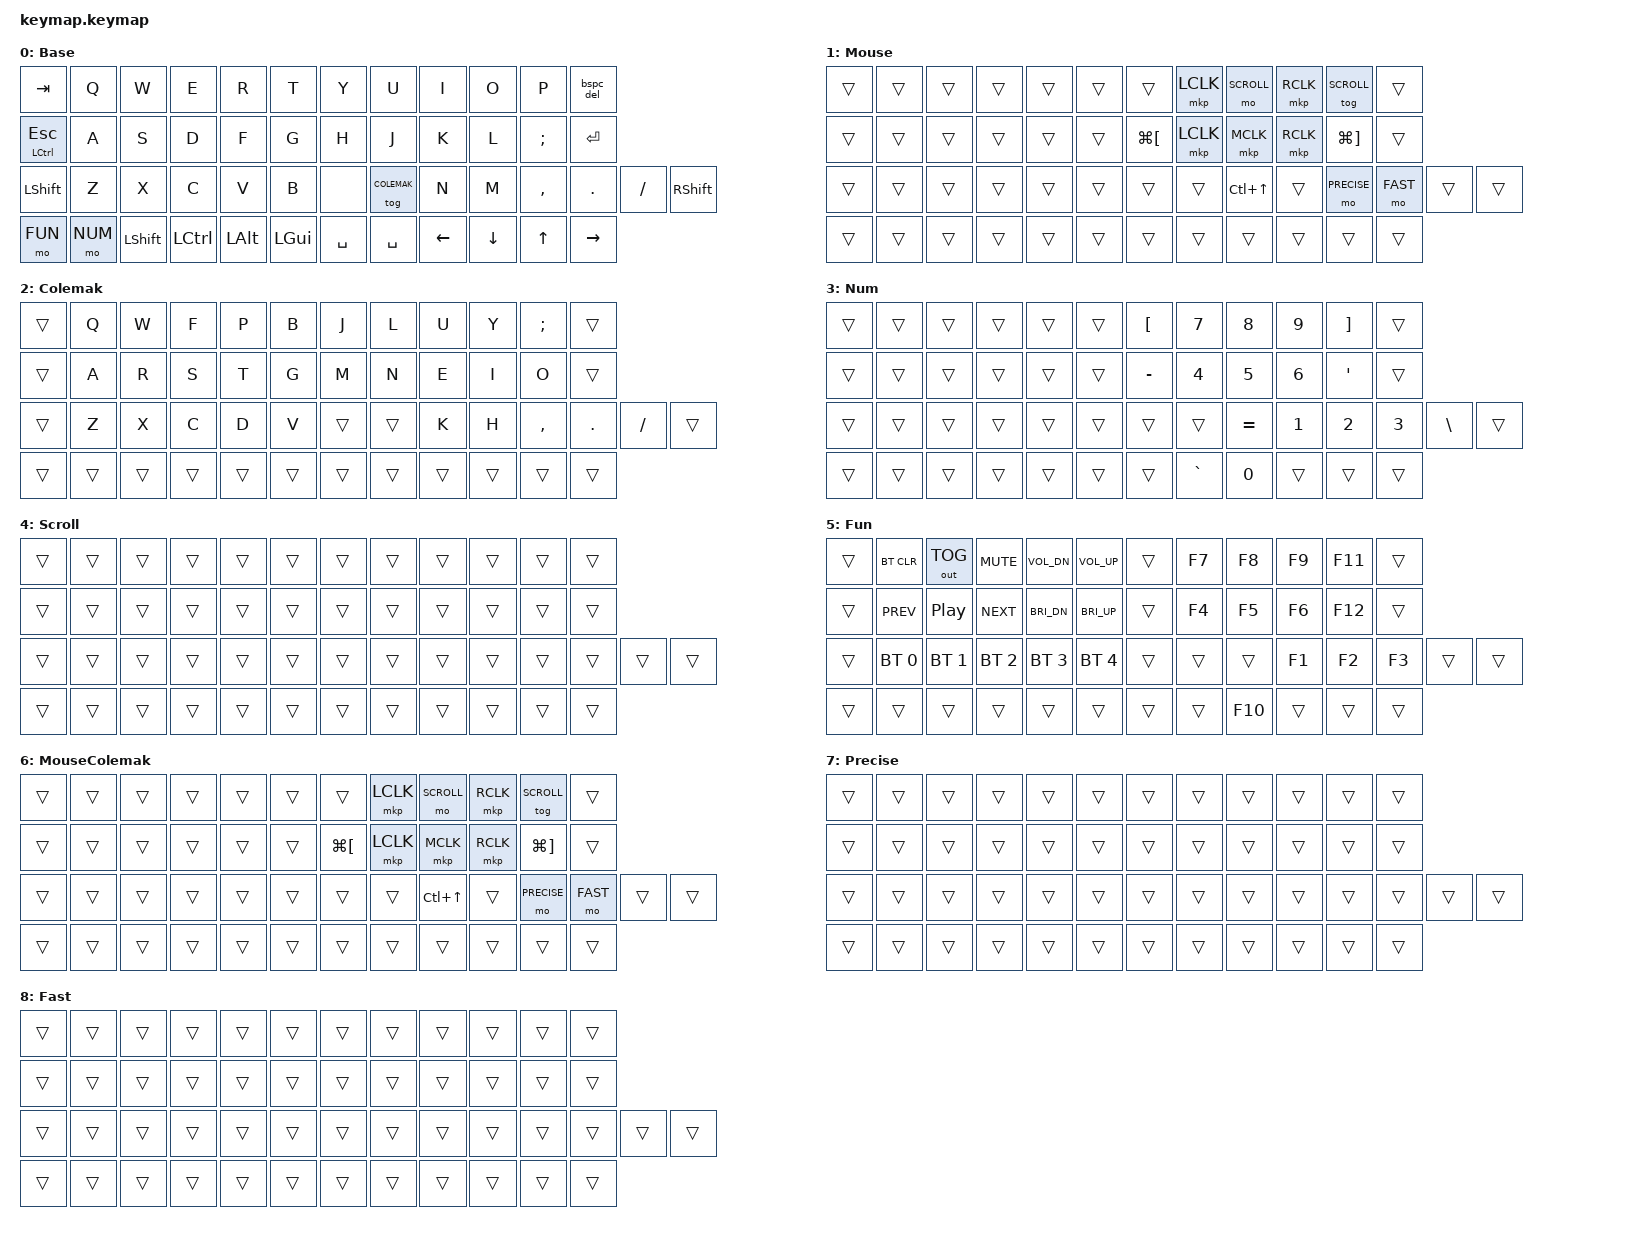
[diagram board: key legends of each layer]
#include <behaviors.dtsi>
#include <dt-bindings/zmk/bt.h>
#include <dt-bindings/zmk/keys.h>
#include <dt-bindings/zmk/outputs.h>
#include <dt-bindings/zmk/pointing.h>

// Layer indices. MOUSE (1), SCROLL (4), PRECISE (7) and FAST (8) are referenced by
// boards/shields/zen/zen_right.overlay, so they must keep these numbers.
// COLEMAK sits above MOUSE, so MOUSE_C (a copy of MOUSE) is switched on by
// conditional_layers whenever both are active; otherwise Colemak letters
// would cover the click keys.
#define BASE    0
#define MOUSE   1
#define COLEMAK 2
#define NUM     3
#define SCROLL  4
#define FUN     5
#define MOUSE_C 6
#define PRECISE 7
#define FAST    8

/ {
    behaviors {
        // Tap: Esc / Hold: Ctrl.
        // "balanced": Ctrl only when another key is pressed and released
        // while this key is held, so a quick Esc never turns into Ctrl.
        esc_ctrl: esc_ctrl {
            compatible = "zmk,behavior-hold-tap";
            #binding-cells = <2>;
            flavor = "balanced";
            tapping-term-ms = <200>;
            quick-tap-ms = <150>;
            bindings = <&kp>, <&kp>;
        };

        // Bksp / Shift+Bksp = Del (Shift is not sent along with Del).
        bspc_del: bspc_del {
            compatible = "zmk,behavior-mod-morph";
            #binding-cells = <0>;
            bindings = <&kp BSPC>, <&kp DEL>;
            mods = <(MOD_LSFT|MOD_RSFT)>;
        };
    };

    combos {
        compatible = "zmk,combos";

        // Both Shifts together = Caps Word (caps for one word, then off).
        caps_word {
            timeout-ms = <50>;
            key-positions = <24 37>;
            bindings = <&caps_word>;
            layers = <BASE>;
        };
    };

    keymap {
        compatible = "zmk,keymap";

        Base {
            bindings = <
&kp TAB                &kp Q    &kp W    &kp E      &kp R     &kp T     &kp Y      &kp U      &kp I         &kp O       &kp P          &bspc_del
&esc_ctrl LCTRL ESC    &kp A    &kp S    &kp D      &kp F     &kp G     &kp H      &kp J      &kp K         &kp L       &kp SEMICOLON  &kp ENTER
&kp LSHFT              &kp Z    &kp X    &kp C      &kp V     &kp B     &none      &tog COLEMAK  &kp N         &kp M       &kp COMMA      &kp DOT    &kp SLASH  &kp RSHFT
&mo FUN                &mo NUM  &kp LSHFT &kp LCTRL &kp LALT  &kp LGUI  &kp SPACE  &kp SPACE  &kp LEFT      &kp DOWN    &kp UP         &kp RIGHT
            >;
        };

        // Turned on automatically while the trackball moves.
        // I: hold to scroll. P: scroll on/off toggle.
        // , (comma): hold for slow, precise cursor. . (dot): hold for fast cursor.
        Mouse {
            bindings = <
&trans  &trans  &trans  &trans  &trans  &trans  &trans  &mkp LCLK  &mo SCROLL  &mkp RCLK  &tog SCROLL  &trans
&trans  &trans  &trans  &trans  &trans  &trans  &kp LG(LBKT)  &mkp LCLK  &mkp MCLK  &mkp RCLK  &kp LG(RBKT)  &trans
&trans  &trans  &trans  &trans  &trans  &trans  &trans  &trans  &kp LC(UP)  &trans  &mo PRECISE  &mo FAST  &trans  &trans
&trans  &trans  &trans  &trans  &trans  &trans  &trans  &trans  &trans  &trans  &trans  &trans
            >;
        };

        // Colemak-DH letters, toggled with key 31. Everything else passes through.
        Colemak {
            bindings = <
&trans  &kp Q  &kp W  &kp F  &kp P  &kp B  &kp J  &kp L  &kp U  &kp Y  &kp SEMICOLON  &trans
&trans  &kp A  &kp R  &kp S  &kp T  &kp G  &kp M  &kp N  &kp E  &kp I  &kp O          &trans
&trans  &kp Z  &kp X  &kp C  &kp D  &kp V  &trans &trans &kp K  &kp H  &kp COMMA  &kp DOT  &kp SLASH  &trans
&trans  &trans &trans &trans &trans &trans &trans &trans &trans &trans &trans  &trans
            >;
        };

        // Right-hand numpad. Shift (base, transparent) gives the shifted symbols.
        Num {
            bindings = <
&trans  &trans  &trans  &trans  &trans  &trans  &kp LBKT  &kp N7  &kp N8  &kp N9  &kp RBKT   &trans
&trans  &trans  &trans  &trans  &trans  &trans  &kp MINUS &kp N4  &kp N5  &kp N6  &kp SQT  &trans
&trans  &trans  &trans  &trans  &trans  &trans  &trans    &trans  &kp EQUAL &kp N1  &kp N2  &kp N3  &kp BSLH  &trans
&trans  &trans  &trans  &trans  &trans  &trans  &trans    &kp GRAVE  &kp N0  &trans  &trans  &trans
            >;
        };


        // Trackball scrolls while this layer is on (held from Mouse).
        Scroll {
            bindings = <
&trans  &trans  &trans  &trans  &trans  &trans  &trans  &trans  &trans  &trans  &trans  &trans
&trans  &trans  &trans  &trans  &trans  &trans  &trans  &trans  &trans  &trans  &trans  &trans
&trans  &trans  &trans  &trans  &trans  &trans  &trans  &trans  &trans  &trans  &trans  &trans  &trans  &trans
&trans  &trans  &trans  &trans  &trans  &trans  &trans  &trans  &trans  &trans  &trans  &trans
            >;
        };

        // Left: Bluetooth / media / brightness. Right: F-keys at the numpad spots.
        Fun {
            bindings = <
&trans  &bt BT_CLR      &out OUT_TOG    &kp C_MUTE      &kp C_VOL_DN    &kp C_VOL_UP    &trans  &kp F7  &kp F8  &kp F9  &kp F11  &trans
&trans  &kp C_PREV      &kp C_PP        &kp C_NEXT      &kp C_BRI_DN    &kp C_BRI_UP    &trans  &kp F4  &kp F5  &kp F6  &kp F12  &trans
&trans  &bt BT_SEL 0    &bt BT_SEL 1    &bt BT_SEL 2    &bt BT_SEL 3    &bt BT_SEL 4    &trans  &trans  &trans  &kp F1  &kp F2  &kp F3  &trans  &trans
&trans  &trans          &trans          &trans          &trans          &trans          &trans  &trans  &kp F10  &trans  &trans  &trans
            >;
        };

        // Copy of Mouse used while Colemak is on (see conditional_layers).
        MouseColemak {
            bindings = <
&trans  &trans  &trans  &trans  &trans  &trans  &trans  &mkp LCLK  &mo SCROLL  &mkp RCLK  &tog SCROLL  &trans
&trans  &trans  &trans  &trans  &trans  &trans  &kp LG(LBKT)  &mkp LCLK  &mkp MCLK  &mkp RCLK  &kp LG(RBKT)  &trans
&trans  &trans  &trans  &trans  &trans  &trans  &trans  &trans  &kp LC(UP)  &trans  &mo PRECISE  &mo FAST  &trans  &trans
&trans  &trans  &trans  &trans  &trans  &trans  &trans  &trans  &trans  &trans  &trans  &trans
            >;
        };

        // Cursor at 1/3 speed while held (comma on the Mouse layer).
        Precise {
            bindings = <
&trans  &trans  &trans  &trans  &trans  &trans  &trans  &trans  &trans  &trans  &trans  &trans
&trans  &trans  &trans  &trans  &trans  &trans  &trans  &trans  &trans  &trans  &trans  &trans
&trans  &trans  &trans  &trans  &trans  &trans  &trans  &trans  &trans  &trans  &trans  &trans  &trans  &trans
&trans  &trans  &trans  &trans  &trans  &trans  &trans  &trans  &trans  &trans  &trans  &trans
            >;
        };

        // Cursor at 2x speed while held (dot on the Mouse layer).
        Fast {
            bindings = <
&trans  &trans  &trans  &trans  &trans  &trans  &trans  &trans  &trans  &trans  &trans  &trans
&trans  &trans  &trans  &trans  &trans  &trans  &trans  &trans  &trans  &trans  &trans  &trans
&trans  &trans  &trans  &trans  &trans  &trans  &trans  &trans  &trans  &trans  &trans  &trans  &trans  &trans
&trans  &trans  &trans  &trans  &trans  &trans  &trans  &trans  &trans  &trans  &trans  &trans
            >;
        };
    };

    conditional_layers {
        compatible = "zmk,conditional-layers";
        mouse_colemak {
            if-layers = <MOUSE COLEMAK>;
            then-layer = <MOUSE_C>;
        };
    };
};
